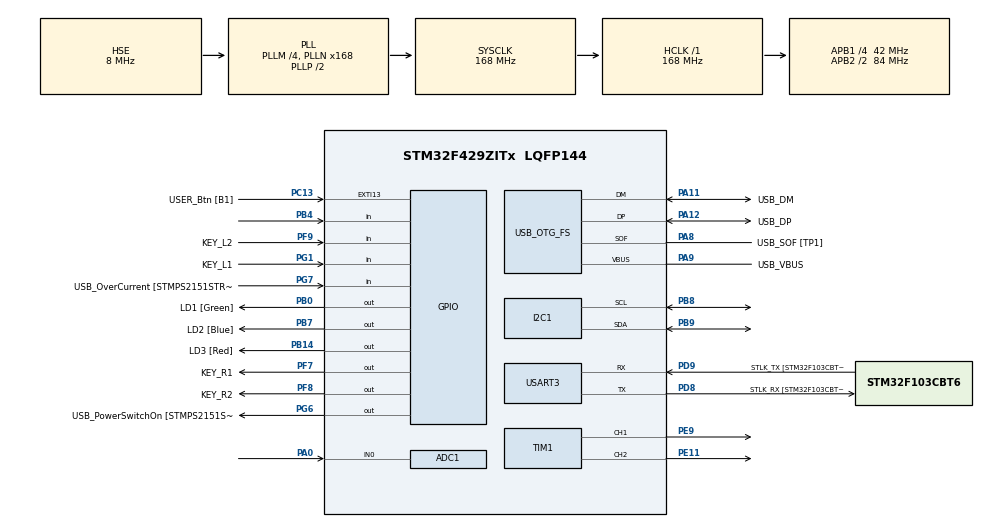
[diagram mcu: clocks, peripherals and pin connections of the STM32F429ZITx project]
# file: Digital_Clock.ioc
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ADC1.Channel-0\#ChannelRegularConversion=ADC_CHANNEL_0
ADC1.ContinuousConvMode=ENABLE
ADC1.DMAContinuousRequests=ENABLE
ADC1.NbrOfConversionFlag=1
ADC1.Rank-0\#ChannelRegularConversion=1
ADC1.SamplingTime-0\#ChannelRegularConversion=ADC_SAMPLETIME_3CYCLES
ADC1.master=1
Dma.ADC1.0.Direction=DMA_PERIPH_TO_MEMORY
Dma.ADC1.0.FIFOMode=DMA_FIFOMODE_DISABLE
Dma.ADC1.0.Instance=DMA2_Stream0
Dma.ADC1.0.MemDataAlignment=DMA_MDATAALIGN_HALFWORD
Dma.ADC1.0.MemInc=DMA_MINC_ENABLE
Dma.ADC1.0.Mode=DMA_NORMAL
Dma.ADC1.0.PeriphDataAlignment=DMA_PDATAALIGN_HALFWORD
Dma.ADC1.0.PeriphInc=DMA_PINC_DISABLE
Dma.ADC1.0.Priority=DMA_PRIORITY_LOW
Dma.Request0=ADC1
FREERTOS.Tasks01=defaultTask,24,128,StartDefaultTask,Default,NULL,Dynamic,NULL,NULL
FREERTOS.configENABLE_FPU=1
FREERTOS.configUSE_NEWLIB_REENTRANT=1
Mcu.Family=STM32F4
Mcu.Name=STM32F429ZITx
Mcu.Package=LQFP144
NVIC.ADC_IRQn=true\:5\:0\:false\:false\:true\:true\:true\:true
NVIC.DMA2_Stream0_IRQn=true\:5\:0\:false\:false\:true\:true\:false\:true
NVIC.PriorityGroup=NVIC_PRIORITYGROUP_4
NVIC.RTC_Alarm_IRQn=true\:5\:0\:false\:false\:true\:true\:true\:true
NVIC.RTC_WKUP_IRQn=true\:5\:0\:false\:false\:true\:true\:true\:true
NVIC.TIM6_DAC_IRQn=true\:15\:0\:false\:false\:true\:false\:false\:true
NVIC.TimeBase=TIM6_DAC_IRQn
NVIC.TimeBaseIP=TIM6
PA0/WKUP.Signal=ADCx_IN0
PA1.GPIO_Label=RMII_REF_CLK [LAN8742A-CZ-TR_REFCLK0]
PA1.Signal=ETH_REF_CLK
PA10.GPIO_Label=USB_ID
PA10.Signal=USB_OTG_FS_ID
PA11.GPIO_Label=USB_DM
PA11.Mode=Device_Only
PA11.Signal=USB_OTG_FS_DM
PA12.GPIO_Label=USB_DP
PA12.Mode=Device_Only
PA12.Signal=USB_OTG_FS_DP
PA13.GPIO_Label=TMS
PA13.Mode=Trace_Asynchronous_SW
PA13.Signal=SYS_JTMS-SWDIO
PA14.GPIO_Label=TCK
PA14.Mode=Trace_Asynchronous_SW
PA14.Signal=SYS_JTCK-SWCLK
PA2.GPIO_Label=RMII_MDIO [LAN8742A-CZ-TR_MDIO]
PA2.Signal=ETH_MDIO
PA7.GPIO_Label=RMII_CRS_DV [LAN8742A-CZ-TR_CRS_DV]
PA7.Signal=ETH_CRS_DV
PA8.GPIO_Label=USB_SOF [TP1]
PA8.Mode=Activate_SOF_FS
PA8.Signal=USB_OTG_FS_SOF
PA9.GPIO_Label=USB_VBUS
PA9.Mode=Activate_VBUS
PA9.Signal=USB_OTG_FS_VBUS
PB0.GPIO_Label=LD1 [Green]
PB0.Signal=GPIO_Output
PB13.GPIO_Label=RMII_TXD1 [LAN8742A-CZ-TR_TXD1]
PB13.Signal=ETH_TXD1
PB14.GPIO_Label=LD3 [Red]
PB14.Signal=GPIO_Output
PB3.Mode=Trace_Asynchronous_SW
PB3.Signal=SYS_JTDO-SWO
PB4.Signal=GPIO_Input
PB7.GPIO_Label=LD2 [Blue]
PB7.Signal=GPIO_Output
PB8.Mode=I2C
PB8.Signal=I2C1_SCL
PB9.Mode=I2C
PB9.Signal=I2C1_SDA
PC1.GPIO_Label=RMII_MDC [LAN8742A-CZ-TR_MDC]
PC1.Signal=ETH_MDC
PC13.GPIO_Label=USER_Btn [B1]
PC13.GPIO_ModeDefaultEXTI=GPIO_MODE_IT_RISING
PC13.Signal=GPXTI13
PC14/OSC32_IN.Mode=LSE-External-Oscillator
PC14/OSC32_IN.Signal=RCC_OSC32_IN
PC15/OSC32_OUT.Mode=LSE-External-Oscillator
PC15/OSC32_OUT.Signal=RCC_OSC32_OUT
PC4.GPIO_Label=RMII_RXD0 [LAN8742A-CZ-TR_RXD0]
PC4.Signal=ETH_RXD0
PC5.GPIO_Label=RMII_RXD1 [LAN8742A-CZ-TR_RXD1]
PC5.Signal=ETH_RXD1
PD8.GPIO_Label=STLK_RX [STM32F103CBT6_PA3]
PD8.Mode=Asynchronous
PD8.Signal=USART3_TX
PD9.GPIO_Label=STLK_TX [STM32F103CBT6_PA2]
PD9.Mode=Asynchronous
PD9.Signal=USART3_RX
PE11.Signal=S_TIM1_CH2
PE9.Signal=S_TIM1_CH1
PF7.GPIO_Label=KEY_R1
PF7.Signal=GPIO_Output
PF8.GPIO_Label=KEY_R2
PF8.Signal=GPIO_Output
PF9.GPIO_Label=KEY_L2
PF9.GPIO_PuPd=GPIO_PULLDOWN
PF9.Signal=GPIO_Input
PG1.GPIO_Label=KEY_L1
PG1.GPIO_PuPd=GPIO_PULLDOWN
PG1.Signal=GPIO_Input
PG11.GPIO_Label=RMII_TX_EN [LAN8742A-CZ-TR_TXEN]
PG11.Signal=ETH_TX_EN
PG13.GPIO_Label=RMII_TXD0 [LAN8742A-CZ-TR_TXD0]
PG13.Signal=ETH_TXD0
PG6.GPIO_Label=USB_PowerSwitchOn [STMPS2151STR_EN]
PG6.Signal=GPIO_Output
PG7.GPIO_Label=USB_OverCurrent [STMPS2151STR_FAULT]
PG7.Signal=GPIO_Input
PH0/OSC_IN.GPIO_Label=MCO [STM32F103CBT6_PA8]
PH0/OSC_IN.Mode=HSE-External-Clock-Source
PH0/OSC_IN.Signal=RCC_OSC_IN
PH1/OSC_OUT.Mode=HSE-External-Clock-Source
PH1/OSC_OUT.Signal=RCC_OSC_OUT
ProjectManager.HeapSize=0x200
ProjectManager.StackSize=0x400
ProjectManager.TargetToolchain=STM32CubeIDE
RCC.48MHZClocksFreq_Value=48000000
RCC.AHBFreq_Value=168000000
RCC.APB1CLKDivider=RCC_HCLK_DIV4
RCC.APB1Freq_Value=42000000
RCC.APB1TimFreq_Value=84000000
RCC.APB2CLKDivider=RCC_HCLK_DIV2
RCC.APB2Freq_Value=84000000
RCC.APB2TimCLKDivider=2
RCC.APB2TimFreq_Value=168000000
RCC.CortexFreq_Value=168000000
RCC.HCLKFreq_Value=168000000
RCC.HSE_VALUE=8000000
RCC.HSI_VALUE=16000000
RCC.PLLM=4
RCC.PLLMUL=RCC_PLL_MUL9
RCC.PLLN=168
RCC.PLLQ=7
RCC.PRESCALERUSB=RCC_USBCLKSOURCE_PLL_DIV1_5
RCC.RCC_RTC_Clock_Source=RCC_RTCCLKSOURCE_LSE
RCC.RCC_RTC_Clock_SourceVirtual=RCC_RTCCLKSOURCE_LSE
RCC.SYSCLKFreq_VALUE=168000000
RCC.SYSCLKSource=RCC_SYSCLKSOURCE_PLLCLK
RCC.SYSCLKSourceVirtual=RCC_SYSCLKSOURCE_PLLCLK
RCC.USBFreq_Value=48000000
RCC.VCOOutputFreq_Value=336000000
RTC.Alarm=RTC_ALARM_A
RTC.Alarm_B=RTC_ALARM_B
RTC.HourFormat=RTC_HOURFORMAT_12
SH.ADCx_IN0.0=ADC1_IN0,IN0
SH.S_TIM1_CH1.0=TIM1_CH1,PWM Generation1 CH1
SH.S_TIM1_CH2.0=TIM1_CH2,PWM Generation2 CH2
TIM1.Channel-PWM\ Generation1\ CH1=TIM_CHANNEL_1
TIM1.Channel-PWM\ Generation2\ CH2=TIM_CHANNEL_2
USART3.VirtualMode=VM_ASYNC
USB_OTG_FS.VirtualMode=Device_Only
VP_FREERTOS_VS_CMSIS_V2.Mode=CMSIS_V2
VP_RNG_VS_RNG.Mode=RNG_Activate
VP_RTC_VS_RTC_Activate.Mode=RTC_Enabled
VP_RTC_VS_RTC_Alarm_A_Intern.Mode=Alarm A
VP_RTC_VS_RTC_Alarm_B_Intern.Mode=Alarm B
VP_RTC_VS_RTC_Calendar.Mode=RTC_Calendar
VP_RTC_VS_RTC_WakeUp_intern.Mode=WakeUp
VP_SYS_VS_tim6.Mode=TIM6
board=NUCLEO-F429ZI

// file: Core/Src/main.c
/* USER CODE BEGIN Header */
/**
 ******************************************************************************
 * @file           : main.c
 * @brief          : Main program body
 ******************************************************************************
 * @attention
 *
 * <h2><center>&copy; Copyright (c) 2022 STMicroelectronics.
 * All rights reserved.</center></h2>
 *
 * This software component is licensed by ST under BSD 3-Clause license,
 * the "License"; You may not use this file except in compliance with the
 * License. You may obtain a copy of the License at:
 *                        opensource.org/licenses/BSD-3-Clause
 *
 ******************************************************************************
 */
/* USER CODE END Header */
#include "main.h"
#include "cmsis_os.h"

/* USER CODE BEGIN Includes */
#include "ws2812b.h"
/* USER CODE END Includes */

ADC_HandleTypeDef hadc1;
DMA_HandleTypeDef hdma_adc1;

I2C_HandleTypeDef hi2c1;

RTC_HandleTypeDef hrtc;

TIM_HandleTypeDef htim1;

UART_HandleTypeDef huart3;

PCD_HandleTypeDef hpcd_USB_OTG_FS;

/* Definitions for defaultTask */
osThreadId_t defaultTaskHandle;
const osThreadAttr_t defaultTask_attributes = {
  .name = "defaultTask",
  .stack_size = 128 * 4,
  .priority = (osPriority_t) osPriorityNormal,
};
/* USER CODE BEGIN PV */
TaskHandle_t task_rtc;
TaskHandle_t task_lcd;
TaskHandle_t task_stateControl;
TaskHandle_t task_interface;
TaskHandle_t task_ledRing;

QueueHandle_t queue_lcd;
QueueHandle_t queue_input;

TimerHandle_t timer_ledRing;

volatile uint8_t button_input = 0;
/* USER CODE END PV */

void SystemClock_Config(void);
static void MX_GPIO_Init(void);
static void MX_USART3_UART_Init(void);
static void MX_DMA_Init(void);
static void MX_ADC1_Init(void);
static void MX_I2C1_Init(void);
static void MX_RTC_Init(void);
static void MX_TIM1_Init(void);
static void MX_USB_OTG_FS_PCD_Init(void);
void StartDefaultTask(void *argument);

/* USER CODE BEGIN PFP */
void vTimerLedRingUpdateCallback(TimerHandle_t pxTimer);
/* USER CODE END PFP */

int main(void)
{
  /* USER CODE BEGIN 1 */
	BaseType_t status;
	button_input = 0;
  /* USER CODE END 1 */

  /* MCU Configuration--------------------------------------------------------*/

  /* Reset of all peripherals, Initializes the Flash interface and the Systick. */
  HAL_Init();

  /* Configure the system clock */
  SystemClock_Config();

  /* Initialize all configured peripherals */
  MX_GPIO_Init();
  MX_USART3_UART_Init();
  MX_DMA_Init();
  MX_ADC1_Init();
  MX_I2C1_Init();
  MX_RTC_Init();
  MX_TIM1_Init();
  MX_USB_OTG_FS_PCD_Init();

  /* Init scheduler */
  osKernelInitialize();

  /* USER CODE BEGIN RTOS_TIMERS */
	/* start timers, add new ones, ... */
  timer_ledRing = xTimerCreate("Led Ring Timer", pdMS_TO_TICKS(15), pdTRUE, (void*)0, vTimerLedRingUpdateCallback);
  /* USER CODE END RTOS_TIMERS */

  /* USER CODE BEGIN RTOS_QUEUES */
	/* add queues, ... */
	queue_lcd = xQueueCreate(10, sizeof(sizeof(size_t))); //store address of pointer
	configASSERT(queue_lcd != NULL);
	queue_input = xQueueCreate(10, sizeof(char)); //store address of pointer
	configASSERT(queue_input != NULL);

  /* USER CODE END RTOS_QUEUES */

  /* Create the thread(s) */
  /* creation of defaultTask */
  defaultTaskHandle = osThreadNew(StartDefaultTask, NULL, &defaultTask_attributes);

  /* USER CODE BEGIN RTOS_THREADS */
	/* add threads, ... */
	status = xTaskCreate(Task_StateController, "StateController task", 250,
	NULL, 3, &task_stateControl);
	configASSERT(status == pdPASS);
	status = xTaskCreate(Task_Lcd, "lcd task", 250, NULL, 3, &task_lcd);
	configASSERT(status == pdPASS);
	status = xTaskCreate(Task_Rtc, "rtc_task", 250, NULL, 3, &task_rtc);
	configASSERT(status == pdPASS);
	status = xTaskCreate(Task_Interface, "interface_task", 250, NULL, 3,
			&task_interface);
	configASSERT(status == pdPASS);
	status = xTaskCreate(Task_LedRing, "led_ring_task", 250, NULL, 3,
			&task_ledRing);
	configASSERT(status == pdPASS);

  /* USER CODE END RTOS_THREADS */

  /* Start scheduler */
  osKernelStart();

  /* We should never get here as control is now taken by the scheduler */
  /* Infinite loop */
	while (1) {

	}
}

void SystemClock_Config(void)
{
  RCC_OscInitTypeDef RCC_OscInitStruct = {0};
  RCC_ClkInitTypeDef RCC_ClkInitStruct = {0};

  /** Configure the main internal regulator output voltage
  */
  __HAL_RCC_PWR_CLK_ENABLE();
  __HAL_PWR_VOLTAGESCALING_CONFIG(PWR_REGULATOR_VOLTAGE_SCALE1);
  /** Initializes the RCC Oscillators according to the specified parameters
  * in the RCC_OscInitTypeDef structure.
  */
  RCC_OscInitStruct.OscillatorType = RCC_OSCILLATORTYPE_HSE|RCC_OSCILLATORTYPE_LSE;
  RCC_OscInitStruct.HSEState = RCC_HSE_BYPASS;
  RCC_OscInitStruct.LSEState = RCC_LSE_ON;
  RCC_OscInitStruct.PLL.PLLState = RCC_PLL_ON;
  RCC_OscInitStruct.PLL.PLLSource = RCC_PLLSOURCE_HSE;
  RCC_OscInitStruct.PLL.PLLM = 4;
  RCC_OscInitStruct.PLL.PLLN = 168;
  RCC_OscInitStruct.PLL.PLLP = RCC_PLLP_DIV2;
  RCC_OscInitStruct.PLL.PLLQ = 7;
  if (HAL_RCC_OscConfig(&RCC_OscInitStruct) != HAL_OK)
  {
    Error_Handler();
  }
  /** Initializes the CPU, AHB and APB buses clocks
  */
  RCC_ClkInitStruct.ClockType = RCC_CLOCKTYPE_HCLK|RCC_CLOCKTYPE_SYSCLK
                              |RCC_CLOCKTYPE_PCLK1|RCC_CLOCKTYPE_PCLK2;
  RCC_ClkInitStruct.SYSCLKSource = RCC_SYSCLKSOURCE_PLLCLK;
  RCC_ClkInitStruct.AHBCLKDivider = RCC_SYSCLK_DIV1;
  RCC_ClkInitStruct.APB1CLKDivider = RCC_HCLK_DIV4;
  RCC_ClkInitStruct.APB2CLKDivider = RCC_HCLK_DIV2;

  if (HAL_RCC_ClockConfig(&RCC_ClkInitStruct, FLASH_LATENCY_5) != HAL_OK)
  {
    Error_Handler();
  }
}

static void MX_ADC1_Init(void)
{

  ADC_ChannelConfTypeDef sConfig = {0};

  /** Configure the global features of the ADC (Clock, Resolution, Data Alignment and number of conversion)
  */
  hadc1.Instance = ADC1;
  hadc1.Init.ClockPrescaler = ADC_CLOCK_SYNC_PCLK_DIV4;
  hadc1.Init.Resolution = ADC_RESOLUTION_12B;
  hadc1.Init.ScanConvMode = DISABLE;
  hadc1.Init.ContinuousConvMode = ENABLE;
  hadc1.Init.DiscontinuousConvMode = DISABLE;
  hadc1.Init.ExternalTrigConvEdge = ADC_EXTERNALTRIGCONVEDGE_NONE;
  hadc1.Init.ExternalTrigConv = ADC_SOFTWARE_START;
  hadc1.Init.DataAlign = ADC_DATAALIGN_RIGHT;
  hadc1.Init.NbrOfConversion = 1;
  hadc1.Init.DMAContinuousRequests = ENABLE;
  hadc1.Init.EOCSelection = ADC_EOC_SINGLE_CONV;
  if (HAL_ADC_Init(&hadc1) != HAL_OK)
  {
    Error_Handler();
  }
  /** Configure for the selected ADC regular channel its corresponding rank in the sequencer and its sample time.
  */
  sConfig.Channel = ADC_CHANNEL_0;
  sConfig.Rank = 1;
  sConfig.SamplingTime = ADC_SAMPLETIME_3CYCLES;
  if (HAL_ADC_ConfigChannel(&hadc1, &sConfig) != HAL_OK)
  {
    Error_Handler();
  }

}

static void MX_I2C1_Init(void)
{

  hi2c1.Instance = I2C1;
  hi2c1.Init.ClockSpeed = 100000;
  hi2c1.Init.DutyCycle = I2C_DUTYCYCLE_2;
  hi2c1.Init.OwnAddress1 = 0;
  hi2c1.Init.AddressingMode = I2C_ADDRESSINGMODE_7BIT;
  hi2c1.Init.DualAddressMode = I2C_DUALADDRESS_DISABLE;
  hi2c1.Init.OwnAddress2 = 0;
  hi2c1.Init.GeneralCallMode = I2C_GENERALCALL_DISABLE;
  hi2c1.Init.NoStretchMode = I2C_NOSTRETCH_DISABLE;
  if (HAL_I2C_Init(&hi2c1) != HAL_OK)
  {
    Error_Handler();
  }
  /** Configure Analogue filter
  */
  if (HAL_I2CEx_ConfigAnalogFilter(&hi2c1, I2C_ANALOGFILTER_ENABLE) != HAL_OK)
  {
    Error_Handler();
  }
  /** Configure Digital filter
  */
  if (HAL_I2CEx_ConfigDigitalFilter(&hi2c1, 0) != HAL_OK)
  {
    Error_Handler();
  }

}

static void MX_RTC_Init(void)
{

  RTC_TimeTypeDef sTime = {0};
  RTC_DateTypeDef sDate = {0};
  RTC_AlarmTypeDef sAlarm = {0};

  /** Initialize RTC Only
  */
  hrtc.Instance = RTC;
  hrtc.Init.HourFormat = RTC_HOURFORMAT_12;
  hrtc.Init.AsynchPrediv = 127;
  hrtc.Init.SynchPrediv = 255;
  hrtc.Init.OutPut = RTC_OUTPUT_DISABLE;
  hrtc.Init.OutPutPolarity = RTC_OUTPUT_POLARITY_HIGH;
  hrtc.Init.OutPutType = RTC_OUTPUT_TYPE_OPENDRAIN;
  if (HAL_RTC_Init(&hrtc) != HAL_OK)
  {
    Error_Handler();
  }

  /** Initialize RTC and set the Time and Date
  */
  sTime.Hours = 0x1;
  sTime.Minutes = 0x0;
  sTime.Seconds = 0x0;
  sTime.TimeFormat = RTC_HOURFORMAT12_AM;
  sTime.DayLightSaving = RTC_DAYLIGHTSAVING_NONE;
  sTime.StoreOperation = RTC_STOREOPERATION_RESET;
  if (HAL_RTC_SetTime(&hrtc, &sTime, RTC_FORMAT_BCD) != HAL_OK)
  {
    Error_Handler();
  }
  sDate.WeekDay = RTC_WEEKDAY_MONDAY;
  sDate.Month = RTC_MONTH_JANUARY;
  sDate.Date = 0x1;
  sDate.Year = 0x0;

  if (HAL_RTC_SetDate(&hrtc, &sDate, RTC_FORMAT_BCD) != HAL_OK)
  {
    Error_Handler();
  }
  /** Enable the Alarm A
  */
  sAlarm.AlarmTime.Hours = 0x1;
  sAlarm.AlarmTime.Minutes = 0x0;
  sAlarm.AlarmTime.Seconds = 0x0;
  sAlarm.AlarmTime.SubSeconds = 0x0;
  sAlarm.AlarmTime.TimeFormat = RTC_HOURFORMAT12_AM;
  sAlarm.AlarmTime.DayLightSaving = RTC_DAYLIGHTSAVING_NONE;
  sAlarm.AlarmTime.StoreOperation = RTC_STOREOPERATION_RESET;
  sAlarm.AlarmMask = RTC_ALARMMASK_NONE;
  sAlarm.AlarmSubSecondMask = RTC_ALARMSUBSECONDMASK_ALL;
  sAlarm.AlarmDateWeekDaySel = RTC_ALARMDATEWEEKDAYSEL_DATE;
  sAlarm.AlarmDateWeekDay = 0x1;
  sAlarm.Alarm = RTC_ALARM_A;
  if (HAL_RTC_SetAlarm_IT(&hrtc, &sAlarm, RTC_FORMAT_BCD) != HAL_OK)
  {
    Error_Handler();
  }
  /** Enable the Alarm B
  */
  sAlarm.Alarm = RTC_ALARM_B;
  if (HAL_RTC_SetAlarm_IT(&hrtc, &sAlarm, RTC_FORMAT_BCD) != HAL_OK)
  {
    Error_Handler();
  }
  /** Enable the WakeUp
  */
  __HAL_RTC_WAKEUPTIMER_CLEAR_FLAG(&hrtc, RTC_FLAG_WUTF);
  if (HAL_RTCEx_SetWakeUpTimer_IT(&hrtc, 0, RTC_WAKEUPCLOCK_RTCCLK_DIV16) != HAL_OK)
  {
    Error_Handler();
  }

}

static void MX_TIM1_Init(void)
{

  TIM_MasterConfigTypeDef sMasterConfig = {0};
  TIM_OC_InitTypeDef sConfigOC = {0};
  TIM_BreakDeadTimeConfigTypeDef sBreakDeadTimeConfig = {0};

  htim1.Instance = TIM1;
  htim1.Init.Prescaler = 0;
  htim1.Init.CounterMode = TIM_COUNTERMODE_UP;
  htim1.Init.Period = 65535;
  htim1.Init.ClockDivision = TIM_CLOCKDIVISION_DIV1;
  htim1.Init.RepetitionCounter = 0;
  htim1.Init.AutoReloadPreload = TIM_AUTORELOAD_PRELOAD_DISABLE;
  if (HAL_TIM_PWM_Init(&htim1) != HAL_OK)
  {
    Error_Handler();
  }
  sMasterConfig.MasterOutputTrigger = TIM_TRGO_RESET;
  sMasterConfig.MasterSlaveMode = TIM_MASTERSLAVEMODE_DISABLE;
  if (HAL_TIMEx_MasterConfigSynchronization(&htim1, &sMasterConfig) != HAL_OK)
  {
    Error_Handler();
  }
  sConfigOC.OCMode = TIM_OCMODE_PWM1;
  sConfigOC.Pulse = 0;
  sConfigOC.OCPolarity = TIM_OCPOLARITY_HIGH;
  sConfigOC.OCNPolarity = TIM_OCNPOLARITY_HIGH;
  sConfigOC.OCFastMode = TIM_OCFAST_DISABLE;
  sConfigOC.OCIdleState = TIM_OCIDLESTATE_RESET;
  sConfigOC.OCNIdleState = TIM_OCNIDLESTATE_RESET;
  if (HAL_TIM_PWM_ConfigChannel(&htim1, &sConfigOC, TIM_CHANNEL_1) != HAL_OK)
  {
    Error_Handler();
  }
  if (HAL_TIM_PWM_ConfigChannel(&htim1, &sConfigOC, TIM_CHANNEL_2) != HAL_OK)
  {
    Error_Handler();
  }
  sBreakDeadTimeConfig.OffStateRunMode = TIM_OSSR_DISABLE;
  sBreakDeadTimeConfig.OffStateIDLEMode = TIM_OSSI_DISABLE;
  sBreakDeadTimeConfig.LockLevel = TIM_LOCKLEVEL_OFF;
  sBreakDeadTimeConfig.DeadTime = 0;
  sBreakDeadTimeConfig.BreakState = TIM_BREAK_DISABLE;
  sBreakDeadTimeConfig.BreakPolarity = TIM_BREAKPOLARITY_HIGH;
  sBreakDeadTimeConfig.AutomaticOutput = TIM_AUTOMATICOUTPUT_DISABLE;
  if (HAL_TIMEx_ConfigBreakDeadTime(&htim1, &sBreakDeadTimeConfig) != HAL_OK)
  {
    Error_Handler();
  }
  HAL_TIM_MspPostInit(&htim1);

}

static void MX_USART3_UART_Init(void)
{

  huart3.Instance = USART3;
  huart3.Init.BaudRate = 115200;
  huart3.Init.WordLength = UART_WORDLENGTH_8B;
  huart3.Init.StopBits = UART_STOPBITS_1;
  huart3.Init.Parity = UART_PARITY_NONE;
  huart3.Init.Mode = UART_MODE_TX_RX;
  huart3.Init.HwFlowCtl = UART_HWCONTROL_NONE;
  huart3.Init.OverSampling = UART_OVERSAMPLING_16;
  if (HAL_UART_Init(&huart3) != HAL_OK)
  {
    Error_Handler();
  }

}

static void MX_USB_OTG_FS_PCD_Init(void)
{

  hpcd_USB_OTG_FS.Instance = USB_OTG_FS;
  hpcd_USB_OTG_FS.Init.dev_endpoints = 4;
  hpcd_USB_OTG_FS.Init.speed = PCD_SPEED_FULL;
  hpcd_USB_OTG_FS.Init.dma_enable = DISABLE;
  hpcd_USB_OTG_FS.Init.phy_itface = PCD_PHY_EMBEDDED;
  hpcd_USB_OTG_FS.Init.Sof_enable = ENABLE;
  hpcd_USB_OTG_FS.Init.low_power_enable = DISABLE;
  hpcd_USB_OTG_FS.Init.lpm_enable = DISABLE;
  hpcd_USB_OTG_FS.Init.vbus_sensing_enable = ENABLE;
  hpcd_USB_OTG_FS.Init.use_dedicated_ep1 = DISABLE;
  if (HAL_PCD_Init(&hpcd_USB_OTG_FS) != HAL_OK)
  {
    Error_Handler();
  }

}

static void MX_DMA_Init(void)
{

  /* DMA controller clock enable */
  __HAL_RCC_DMA2_CLK_ENABLE();

  /* DMA interrupt init */
  /* DMA2_Stream0_IRQn interrupt configuration */
  HAL_NVIC_SetPriority(DMA2_Stream0_IRQn, 5, 0);
  HAL_NVIC_EnableIRQ(DMA2_Stream0_IRQn);

}

static void MX_GPIO_Init(void)
{
  GPIO_InitTypeDef GPIO_InitStruct = {0};

  /* GPIO Ports Clock Enable */
  __HAL_RCC_GPIOE_CLK_ENABLE();
  __HAL_RCC_GPIOC_CLK_ENABLE();
  __HAL_RCC_GPIOF_CLK_ENABLE();
  __HAL_RCC_GPIOH_CLK_ENABLE();
  __HAL_RCC_GPIOA_CLK_ENABLE();
  __HAL_RCC_GPIOB_CLK_ENABLE();
  __HAL_RCC_GPIOG_CLK_ENABLE();
  __HAL_RCC_GPIOD_CLK_ENABLE();

  /*Configure GPIO pin Output Level */
  HAL_GPIO_WritePin(GPIOF, KEY_R1_Pin|KEY_R2_Pin, GPIO_PIN_RESET);

  /*Configure GPIO pin Output Level */
  HAL_GPIO_WritePin(GPIOB, LD1_Pin|LD3_Pin|LD2_Pin, GPIO_PIN_RESET);

  /*Configure GPIO pin Output Level */
  HAL_GPIO_WritePin(USB_PowerSwitchOn_GPIO_Port, USB_PowerSwitchOn_Pin, GPIO_PIN_RESET);

  /*Configure GPIO pins : PE2 PE3 PE4 PE5
                           PE6 PE7 PE8 PE10
                           PE12 PE13 PE14 PE15
                           PE0 PE1 */
  GPIO_InitStruct.Pin = GPIO_PIN_2|GPIO_PIN_3|GPIO_PIN_4|GPIO_PIN_5
                          |GPIO_PIN_6|GPIO_PIN_7|GPIO_PIN_8|GPIO_PIN_10
                          |GPIO_PIN_12|GPIO_PIN_13|GPIO_PIN_14|GPIO_PIN_15
                          |GPIO_PIN_0|GPIO_PIN_1;
  GPIO_InitStruct.Mode = GPIO_MODE_ANALOG;
  GPIO_InitStruct.Pull = GPIO_NOPULL;
  HAL_GPIO_Init(GPIOE, &GPIO_InitStruct);

  /*Configure GPIO pin : USER_Btn_Pin */
  GPIO_InitStruct.Pin = USER_Btn_Pin;
  GPIO_InitStruct.Mode = GPIO_MODE_IT_RISING;
  GPIO_InitStruct.Pull = GPIO_NOPULL;
  HAL_GPIO_Init(USER_Btn_GPIO_Port, &GPIO_InitStruct);

  /*Configure GPIO pins : PF0 PF1 PF2 PF3
                           PF4 PF5 PF6 PF10
                           PF11 PF12 PF13 PF14
                           PF15 */
  GPIO_InitStruct.Pin = GPIO_PIN_0|GPIO_PIN_1|GPIO_PIN_2|GPIO_PIN_3
                          |GPIO_PIN_4|GPIO_PIN_5|GPIO_PIN_6|GPIO_PIN_10
                          |GPIO_PIN_11|GPIO_PIN_12|GPIO_PIN_13|GPIO_PIN_14
                          |GPIO_PIN_15;
  GPIO_InitStruct.Mode = GPIO_MODE_ANALOG;
  GPIO_InitStruct.Pull = GPIO_NOPULL;
  HAL_GPIO_Init(GPIOF, &GPIO_InitStruct);

  /*Configure GPIO pins : KEY_R1_Pin KEY_R2_Pin */
  GPIO_InitStruct.Pin = KEY_R1_Pin|KEY_R2_Pin;
  GPIO_InitStruct.Mode = GPIO_MODE_OUTPUT_PP;
  GPIO_InitStruct.Pull = GPIO_NOPULL;
  GPIO_InitStruct.Speed = GPIO_SPEED_FREQ_LOW;
  HAL_GPIO_Init(GPIOF, &GPIO_InitStruct);

  /*Configure GPIO pin : KEY_L2_Pin */
  GPIO_InitStruct.Pin = KEY_L2_Pin;
  GPIO_InitStruct.Mode = GPIO_MODE_INPUT;
  GPIO_InitStruct.Pull = GPIO_PULLDOWN;
  HAL_GPIO_Init(KEY_L2_GPIO_Port, &GPIO_InitStruct);

  /*Configure GPIO pins : PC0 PC2 PC3 PC6
                           PC7 PC8 PC9 PC10
                           PC11 PC12 */
  GPIO_InitStruct.Pin = GPIO_PIN_0|GPIO_PIN_2|GPIO_PIN_3|GPIO_PIN_6
                          |GPIO_PIN_7|GPIO_PIN_8|GPIO_PIN_9|GPIO_PIN_10
                          |GPIO_PIN_11|GPIO_PIN_12;
  GPIO_InitStruct.Mode = GPIO_MODE_ANALOG;
  GPIO_InitStruct.Pull = GPIO_NOPULL;
  HAL_GPIO_Init(GPIOC, &GPIO_InitStruct);

  /*Configure GPIO pins : RMII_MDC_Pin RMII_RXD0_Pin RMII_RXD1_Pin */
  GPIO_InitStruct.Pin = RMII_MDC_Pin|RMII_RXD0_Pin|RMII_RXD1_Pin;
  GPIO_InitStruct.Mode = GPIO_MODE_AF_PP;
  GPIO_InitStruct.Pull = GPIO_NOPULL;
  GPIO_InitStruct.Speed = GPIO_SPEED_FREQ_VERY_HIGH;
  GPIO_InitStruct.Alternate = GPIO_AF11_ETH;
  HAL_GPIO_Init(GPIOC, &GPIO_InitStruct);

  /*Configure GPIO pins : RMII_REF_CLK_Pin RMII_MDIO_Pin RMII_CRS_DV_Pin */
  GPIO_InitStruct.Pin = RMII_REF_CLK_Pin|RMII_MDIO_Pin|RMII_CRS_DV_Pin;
  GPIO_InitStruct.Mode = GPIO_MODE_AF_PP;
  GPIO_InitStruct.Pull = GPIO_NOPULL;
  GPIO_InitStruct.Speed = GPIO_SPEED_FREQ_VERY_HIGH;
  GPIO_InitStruct.Alternate = GPIO_AF11_ETH;
  HAL_GPIO_Init(GPIOA, &GPIO_InitStruct);

  /*Configure GPIO pins : PA3 PA4 PA5 PA6
                           PA15 */
  GPIO_InitStruct.Pin = GPIO_PIN_3|GPIO_PIN_4|GPIO_PIN_5|GPIO_PIN_6
                          |GPIO_PIN_15;
  GPIO_InitStruct.Mode = GPIO_MODE_ANALOG;
  GPIO_InitStruct.Pull = GPIO_NOPULL;
  HAL_GPIO_Init(GPIOA, &GPIO_InitStruct);

  /*Configure GPIO pins : LD1_Pin LD3_Pin LD2_Pin */
  GPIO_InitStruct.Pin = LD1_Pin|LD3_Pin|LD2_Pin;
  GPIO_InitStruct.Mode = GPIO_MODE_OUTPUT_PP;
  GPIO_InitStruct.Pull = GPIO_NOPULL;
  GPIO_InitStruct.Speed = GPIO_SPEED_FREQ_LOW;
  HAL_GPIO_Init(GPIOB, &GPIO_InitStruct);

  /*Configure GPIO pins : PB1 PB2 PB10 PB11
                           PB12 PB15 PB5 PB6 */
  GPIO_InitStruct.Pin = GPIO_PIN_1|GPIO_PIN_2|GPIO_PIN_10|GPIO_PIN_11
                          |GPIO_PIN_12|GPIO_PIN_15|GPIO_PIN_5|GPIO_PIN_6;
  GPIO_InitStruct.Mode = GPIO_MODE_ANALOG;
  GPIO_InitStruct.Pull = GPIO_NOPULL;
  HAL_GPIO_Init(GPIOB, &GPIO_InitStruct);

  /*Configure GPIO pins : PG0 PG2 PG3 PG4
                           PG5 PG8 PG9 PG10
                           PG12 PG14 PG15 */
  GPIO_InitStruct.Pin = GPIO_PIN_0|GPIO_PIN_2|GPIO_PIN_3|GPIO_PIN_4
                          |GPIO_PIN_5|GPIO_PIN_8|GPIO_PIN_9|GPIO_PIN_10
                          |GPIO_PIN_12|GPIO_PIN_14|GPIO_PIN_15;
  GPIO_InitStruct.Mode = GPIO_MODE_ANALOG;
  GPIO_InitStruct.Pull = GPIO_NOPULL;
  HAL_GPIO_Init(GPIOG, &GPIO_InitStruct);

  /*Configure GPIO pin : KEY_L1_Pin */
  GPIO_InitStruct.Pin = KEY_L1_Pin;
  GPIO_InitStruct.Mode = GPIO_MODE_INPUT;
  GPIO_InitStruct.Pull = GPIO_PULLDOWN;
  HAL_GPIO_Init(KEY_L1_GPIO_Port, &GPIO_InitStruct);

  /*Configure GPIO pin : RMII_TXD1_Pin */
  GPIO_InitStruct.Pin = RMII_TXD1_Pin;
  GPIO_InitStruct.Mode = GPIO_MODE_AF_PP;
  GPIO_InitStruct.Pull = GPIO_NOPULL;
  GPIO_InitStruct.Speed = GPIO_SPEED_FREQ_VERY_HIGH;
  GPIO_InitStruct.Alternate = GPIO_AF11_ETH;
  HAL_GPIO_Init(RMII_TXD1_GPIO_Port, &GPIO_InitStruct);

  /*Configure GPIO pins : PD10 PD11 PD12 PD13
                           PD14 PD15 PD0 PD1
                           PD2 PD3 PD4 PD5
                           PD6 PD7 */
  GPIO_InitStruct.Pin = GPIO_PIN_10|GPIO_PIN_11|GPIO_PIN_12|GPIO_PIN_13
                          |GPIO_PIN_14|GPIO_PIN_15|GPIO_PIN_0|GPIO_PIN_1
                          |GPIO_PIN_2|GPIO_PIN_3|GPIO_PIN_4|GPIO_PIN_5
                          |GPIO_PIN_6|GPIO_PIN_7;
  GPIO_InitStruct.Mode = GPIO_MODE_ANALOG;
  GPIO_InitStruct.Pull = GPIO_NOPULL;
  HAL_GPIO_Init(GPIOD, &GPIO_InitStruct);

  /*Configure GPIO pin : USB_PowerSwitchOn_Pin */
  GPIO_InitStruct.Pin = USB_PowerSwitchOn_Pin;
  GPIO_InitStruct.Mode = GPIO_MODE_OUTPUT_PP;
  GPIO_InitStruct.Pull = GPIO_NOPULL;
  GPIO_InitStruct.Speed = GPIO_SPEED_FREQ_LOW;
  HAL_GPIO_Init(USB_PowerSwitchOn_GPIO_Port, &GPIO_InitStruct);

  /*Configure GPIO pin : USB_OverCurrent_Pin */
  GPIO_InitStruct.Pin = USB_OverCurrent_Pin;
  GPIO_InitStruct.Mode = GPIO_MODE_INPUT;
  GPIO_InitStruct.Pull = GPIO_NOPULL;
  HAL_GPIO_Init(USB_OverCurrent_GPIO_Port, &GPIO_InitStruct);
  /*Configure GPIO pins : RMII_TX_EN_Pin RMII_TXD0_Pin */

  GPIO_InitStruct.Pin = RMII_TX_EN_Pin|RMII_TXD0_Pin;
  GPIO_InitStruct.Mode = GPIO_MODE_AF_PP;
  GPIO_InitStruct.Pull = GPIO_NOPULL;
  GPIO_InitStruct.Speed = GPIO_SPEED_FREQ_VERY_HIGH;
  GPIO_InitStruct.Alternate = GPIO_AF11_ETH;
  HAL_GPIO_Init(GPIOG, &GPIO_InitStruct);

  /*Configure GPIO pin : PB4 */
  GPIO_InitStruct.Pin = GPIO_PIN_4;
  GPIO_InitStruct.Mode = GPIO_MODE_INPUT;
  GPIO_InitStruct.Pull = GPIO_NOPULL;
  HAL_GPIO_Init(GPIOB, &GPIO_InitStruct);

}

/* USER CODE BEGIN 4 */
/**
 * @brief  EXTI line detection callbacks.
 * @param  GPIO_Pin Specifies the pins connected EXTI line
 * @retval None
 */
void HAL_GPIO_EXTI_Callback(uint16_t GPIO_Pin) {

	switch (GPIO_Pin) {
	case USER_Btn_Pin:
		;
		BaseType_t xHigherPriorityTaskWoken;
		xTaskNotifyFromISR(task_stateControl, 0, eNoAction,
				&xHigherPriorityTaskWoken);
		portYIELD_FROM_ISR(xHigherPriorityTaskWoken)
		;
		break;
	default:
		break;
	}
}

void vTimerLedRingUpdateCallback(TimerHandle_t pxTimer){
	WS2812_update();
}
/* USER CODE END 4 */

void StartDefaultTask(void *argument)
{
  /* USER CODE BEGIN 5 */
	/* Infinite loop */
	for (;;) {
//		button_input = 0;
		osDelay(1);
	}
  /* USER CODE END 5 */
}

void HAL_TIM_PeriodElapsedCallback(TIM_HandleTypeDef *htim)
{
  if (htim->Instance == TIM6) {
    HAL_IncTick();
  }
}

void Error_Handler(void)
{
	__disable_irq();
	while (1) {
	}
}

/************************ (C) COPYRIGHT STMicroelectronics *****END OF FILE****/

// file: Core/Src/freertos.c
/* USER CODE BEGIN Header */
/**
 ******************************************************************************
 * File Name          : freertos.c
 * Description        : Code for freertos applications
 ******************************************************************************
 * @attention
 *
 * <h2><center>&copy; Copyright (c) 2022 STMicroelectronics.
 * All rights reserved.</center></h2>
 *
 * This software component is licensed by ST under Ultimate Liberty license
 * SLA0044, the "License"; You may not use this file except in compliance with
 * the License. You may obtain a copy of the License at:
 *                             www.st.com/SLA0044
 *
 ******************************************************************************
 */
/* USER CODE END Header */

#include "FreeRTOS.h"
#include "task.h"
#include "main.h"

/* USER CODE BEGIN Includes */
#include <stdio.h>
#include <queue.h>
#include <limits.h>
#include <string.h>
#include "rtc.h"
#include "i2c_lcd.h"
/* USER CODE END Includes */

/* USER CODE BEGIN PTD */
typedef enum {
	State_Normal = 0x00,
//	State_Menu = 0x02,
	State_Configure_Date_DD,
	State_Configure_Date_MM,
	State_Configure_Date_YY,
	State_Configure_Time_HH,
	State_Configure_Time_MM,
	State_Configure_Time_SS,
	State_Configure_Time_FORMAT,
	State_End,
} State_e;

typedef struct {
	RTC_DateTypeDef *date;
	RTC_TimeTypeDef *time;
} RTC_DateTime_t;

typedef struct {
	uint8_t row;
	uint8_t col;
} CursorPos_t;
/* USER CODE END PTD */

/* USER CODE BEGIN PD */
#define CURSOR_ROW_DATE 0
#define CURSOR_ROW_TIME 1
#define CURSOR_DATE_DD 8
#define CURSOR_DATE_MM 5
#define CURSOR_DATE_YY 0
#define CURSOR_TIME_HH 0
#define CURSOR_TIME_MM 3
#define CURSOR_TIME_SS 6
#define CURSOR_TIME_FORMAT 10
/* USER CODE END PD */

/* USER CODE BEGIN Variables */
extern I2C_HandleTypeDef hi2c1;
extern RTC_HandleTypeDef hrtc;

extern TaskHandle_t task_rtc;
extern TaskHandle_t task_lcd;
extern TaskHandle_t task_stateControl;
extern TaskHandle_t task_interface;

extern QueueHandle_t queue_lcd;
extern QueueHandle_t queue_input;

State_e systemState = State_Normal;
State_e tmpState = State_Normal;
uint8_t keyInput;
/* USER CODE END Variables */

/* USER CODE BEGIN Application */
void Task_StateController(void *param) {
	BaseType_t notifiedValue;
	char userInput = 0;

	while (1) {
		if (xQueuePeek(queue_input, &(userInput), pdMS_TO_TICKS(10))) {
			if (userInput == 'U' || userInput == 'D') {
				xQueueReceive(queue_input, &(userInput), pdMS_TO_TICKS(0));
				if (userInput == 'U') {
					systemState--;
					if (systemState > UINT8_MAX - 1) //Check if overflow happens
						systemState = State_Configure_Time_FORMAT;
				} else if (userInput == 'D') {
					systemState++;
				}
				if (systemState == State_End) {
					systemState = State_Normal;
				}
			} else {
				xTaskNotify(task_rtc, 0, eNoAction);
			}
		}
	}

}

void Task_Rtc(void *param) {
	RTC_DateTime_t *dateTimeSender;
	RTC_DateTypeDef rtc_date;
	RTC_TimeTypeDef rtc_time;
	memset(&rtc_date, 0, sizeof(rtc_date));
	memset(&rtc_time, 0, sizeof(rtc_time));

	char userInput = '\0';
	int8_t action = 0;
	bool inConfigMode = false;
	while (1) {
		//Get RTC current date and time
		if (systemState != State_Normal) {
			if (xTaskNotifyWait(0x00, ULONG_MAX, NULL, pdMS_TO_TICKS(0)) == pdTRUE) {
				if (xQueueReceive(queue_input, &(userInput), pdMS_TO_TICKS(0)) == pdTRUE) {
					if (userInput == 'I')
						action = 1;
					else if (userInput == 'O')
						action = -1;
				}
			}
		}

		if(systemState != State_Normal){
			inConfigMode = true;
		}
		switch (systemState) {
		case State_Normal:
			if(inConfigMode){
				rtc_configure_time(&rtc_time);
				rtc_configure_date(&rtc_date);
				inConfigMode = false;
			}
			HAL_RTC_GetTime(&hrtc, &rtc_time, RTC_FORMAT_BIN);
			HAL_RTC_GetDate(&hrtc, &rtc_date, RTC_FORMAT_BIN);
			break;

		case State_Configure_Date_DD:
			rtc_date.Date += action;
			if (0 == rtc_date.Date){
				rtc_date.Date = 31;
			}else if (rtc_date.Date > 31){
				rtc_date.Date = 1;
			}
			break;
		case State_Configure_Date_MM:
			rtc_date.Month += action;
			if (0 == rtc_date.Month){
				rtc_date.Month = 12;
			}else if (rtc_date.Month > 31){
				rtc_date.Month = 1;
			}
			break;
		case State_Configure_Date_YY:
			rtc_date.Year += action;
			if (rtc_date.Year > UINT8_MAX - 1){
				rtc_date.Year = 99;
			}else if (rtc_date.Year > 99){
				rtc_date.Year = 0;
			}
			break;
		case State_Configure_Time_HH:
			rtc_time.Hours += action;
			if (0 == rtc_time.Hours){
				rtc_time.Hours = 12;
			}else if (rtc_time.Hours > 12) {
				rtc_time.Hours = 1;
			}
			break;
		case State_Configure_Time_MM:
			rtc_time.Minutes += action;
			if (rtc_time.Minutes > UINT8_MAX - 1) {
				rtc_time.Minutes = 59;
			}
			else if (rtc_time.Minutes >= 60) {
				rtc_time.Minutes = 0;
			}
			break;
		case State_Configure_Time_SS:
			rtc_time.Seconds += action;
			if (rtc_time.Seconds > UINT8_MAX - 1) {
				rtc_time.Seconds = 59;
			}
			 else if (rtc_time.Seconds >= 60) {
				rtc_time.Seconds = 0;
			}
			break;
		case State_Configure_Time_FORMAT:
			if(0 != action){
				rtc_time.TimeFormat ^= 0x40;
			}
			break;
		default:
			break;
		}

		dateTimeSender = pvPortMalloc(sizeof(RTC_DateTime_t));
		dateTimeSender->date = &rtc_date;
		dateTimeSender->time = &rtc_time;

		xQueueSend(queue_lcd, &dateTimeSender, portMAX_DELAY);
		vTaskDelay(50);
		action = 0;
	}
}

void Task_Lcd(void *param) {
//	LcdDisplayData_t *rtcReceiver;
	RTC_DateTime_t *rtcReceiver;
	uint8_t blink = 0;

	CursorPos_t cursor;
	uint8_t data_len = 0;
	memset(&cursor, 0, sizeof(CursorPos_t));

	if (lcd16x2_i2c_init(&hi2c1) == false) {
		Error_Handler();
	}

	lcd16x2_i2c_setCursor(0, 0);
	lcd16x2_i2c_printf("Digital Clock");
	HAL_Delay(1);
	lcd16x2_i2c_setCursor(1, 0);
	lcd16x2_i2c_printf("Hello!");
	HAL_Delay(1000);
	lcd16x2_i2c_clear();
	while (1) {
		xQueueReceive(queue_lcd, &rtcReceiver, 1);
		char *format;

		//Default space occupied is 2
		data_len = 2;

		//Display rtc data
		format = (rtcReceiver->time->TimeFormat == RTC_HOURFORMAT12_AM) ? "AM" : "PM";
		lcd16x2_i2c_setCursor(0, 0);
		lcd16x2_i2c_printf("%02d-%02d-%02d", 2000 + rtcReceiver->date->Year, rtcReceiver->date->Month, rtcReceiver->date->Date);
		vTaskDelay(1);
		lcd16x2_i2c_setCursor(1, 0);
		lcd16x2_i2c_printf("%02d:%02d:%02d [%s]", rtcReceiver->time->Hours, rtcReceiver->time->Minutes, rtcReceiver->time->Seconds, format);

		//Set cursor position accordingly
		switch (systemState) {
		case State_Normal:
			vTaskDelay(100);
			break;
		case State_Configure_Time_HH:
			cursor.row = CURSOR_ROW_TIME;
			cursor.col = CURSOR_TIME_HH;
			break;
		case State_Configure_Time_MM:
			cursor.row = CURSOR_ROW_TIME;
			cursor.col = CURSOR_TIME_MM;
			break;
		case State_Configure_Time_SS:
			cursor.row = CURSOR_ROW_TIME;
			cursor.col = CURSOR_TIME_SS;
			break;
		case State_Configure_Time_FORMAT:
			cursor.row = CURSOR_ROW_TIME;
			cursor.col = CURSOR_TIME_FORMAT;
			break;
		case State_Configure_Date_DD:
			cursor.row = CURSOR_ROW_DATE;
			cursor.col = CURSOR_DATE_DD;
			break;
		case State_Configure_Date_MM:
			cursor.row = CURSOR_ROW_DATE;
			cursor.col = CURSOR_DATE_MM;
			break;
		case State_Configure_Date_YY:
			cursor.row = CURSOR_ROW_DATE;
			cursor.col = CURSOR_DATE_YY;
			data_len = 4;
			break;
		default:
			break;
		}
		if (systemState != State_Normal) {
			//Add blinking feature
			if (blink ^= 1) {
				lcd16x2_i2c_setCursor(cursor.row, cursor.col);
				for (int i = 0; i < data_len; i++) {
					lcd16x2_i2c_printf(" ");
				}
				vTaskDelay(200);
			} else {
				vTaskDelay(500);
			}
		}
		vPortFree(rtcReceiver);
	}
}

void Task_Interface(void *param) {
	while (1) {
		char tmp = 0;
		/* Make ROW 1 LOW and all other ROWs HIGH */
		HAL_GPIO_WritePin(KEY_R1_GPIO_Port, KEY_R1_Pin, GPIO_PIN_RESET);  //Pull the R1 low
		HAL_GPIO_WritePin(KEY_R2_GPIO_Port, KEY_R2_Pin, GPIO_PIN_SET);  // Pull the R2 High

		if ((HAL_GPIO_ReadPin(KEY_L1_GPIO_Port, KEY_L1_Pin)))   // if the Col 1 is low
		{
			while (HAL_GPIO_ReadPin(KEY_L1_GPIO_Port, KEY_L1_Pin));
			tmp = 'D';
		}

		if ((HAL_GPIO_ReadPin(KEY_L2_GPIO_Port, KEY_L2_Pin)))   // if the Col 2 is low
		{
			while (HAL_GPIO_ReadPin(KEY_L2_GPIO_Port, KEY_L2_Pin));
			tmp = 'O';
		}

		/* Make ROW 2 LOW and all other ROWs HIGH */
		HAL_GPIO_WritePin(KEY_R1_GPIO_Port, KEY_R1_Pin, GPIO_PIN_SET);  //Pull the R1 high
		HAL_GPIO_WritePin(KEY_R2_GPIO_Port, KEY_R2_Pin, GPIO_PIN_RESET);  // Pull the R2 low

		if ((HAL_GPIO_ReadPin(KEY_L1_GPIO_Port, KEY_L1_Pin)))   // if the Col 1 is low
		{
			while (HAL_GPIO_ReadPin(KEY_L1_GPIO_Port, KEY_L1_Pin));
			tmp = 'U';
		}

		if ((HAL_GPIO_ReadPin(KEY_L2_GPIO_Port, KEY_L2_Pin)))   // if the Col 2 is low
		{
			while (HAL_GPIO_ReadPin(KEY_L2_GPIO_Port, KEY_L2_Pin));
			tmp = 'I';
		}

		keyInput = tmp; //D: down, U: up, I: in, O: out
		if (keyInput != 0) {
			xQueueSend(queue_input, (void* ) &keyInput, pdMS_TO_TICKS(5));
		}
		vTaskDelay(30);
	}
}

void Task_LedRing(void* param){
	while(1){

	}
}
/* USER CODE END Application */

/************************ (C) COPYRIGHT STMicroelectronics *****END OF FILE****/
